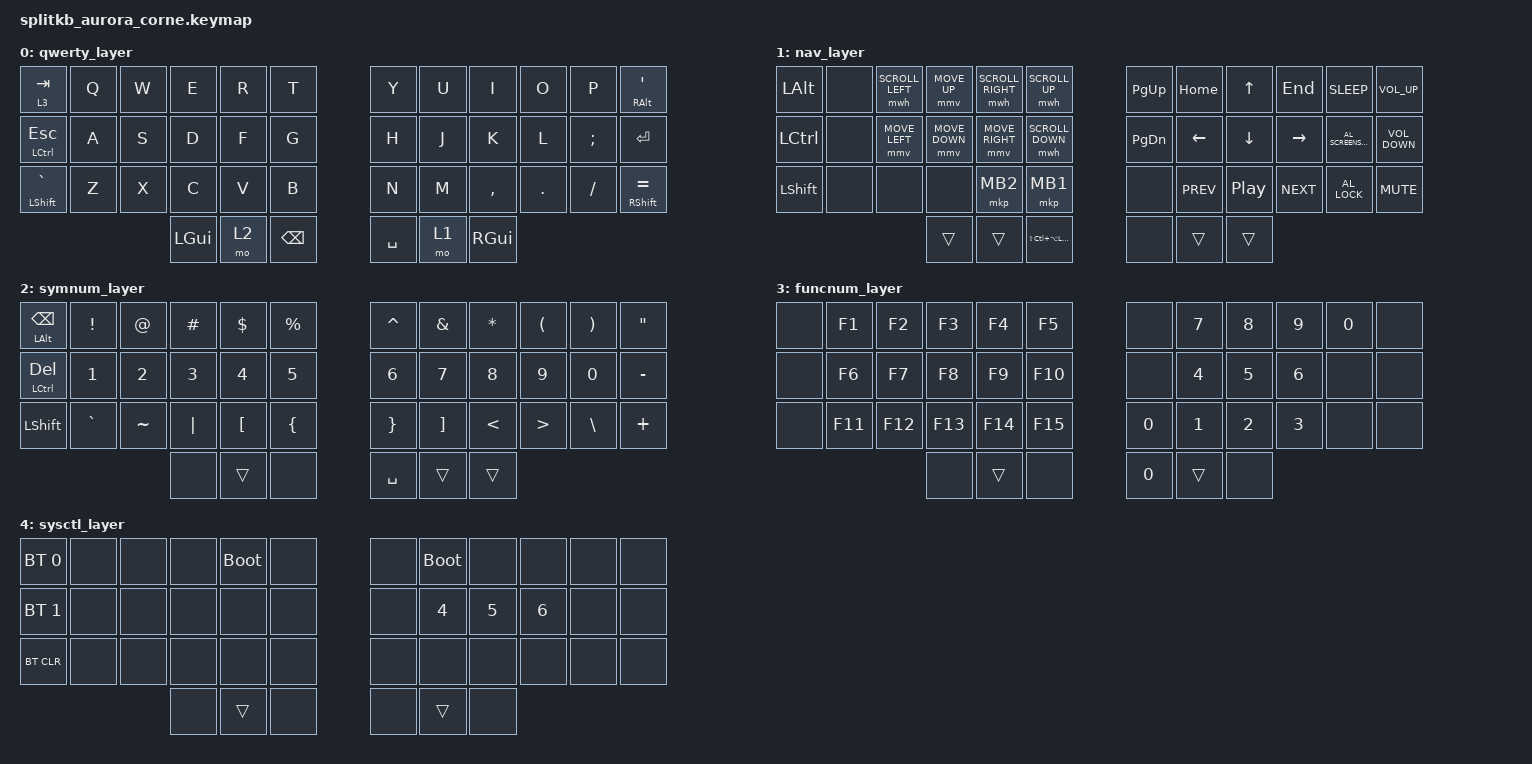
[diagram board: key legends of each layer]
#include <behaviors.dtsi>
#include "mouse.dtsi"
#include <dt-bindings/zmk/bt.h>
#include <dt-bindings/zmk/keys.h>

// layers

#define QWERTY 0
#define NAV 1
#define SYMNUM 2
#define FUNCNUM 3
#define SYSCTL  4

// keys

#define XXX &none
#define ___ &trans
#define HYPER LS(LC(LA(LGUI)))
#define LAG LA(LGUI)
#define LSG LS(LGUI)
#define LCG LC(LGUI)

/ {
    conditional_layers {
        compatible = "zmk,conditional-layers";

        tri_layer {
            if-layers = <1 2>;
            then-layer = <4>;
        };
    };

    keymap {
        compatible = "zmk,keymap";

        qwerty_layer {
            bindings = <
&lt 3 TAB         &kp Q  &kp W  &kp E     &kp R  &kp T       &kp Y      &kp U  &kp I      &kp O    &kp P     &mt RALT SINGLE_QUOTE
&mt LCTRL ESC     &kp A  &kp S  &kp D     &kp F  &kp G       &kp H      &kp J  &kp K      &kp L    &kp SEMI  &kp ENTER
&mt LSHIFT GRAVE  &kp Z  &kp X  &kp C     &kp V  &kp B       &kp N      &kp M  &kp COMMA  &kp DOT  &kp FSLH  &mt RSHIFT EQUAL
                                &kp LGUI  &mo 2  &kp BSPC    &kp SPACE  &mo 1  &kp RGUI
            >;
        };

        nav_layer {
            bindings = <
&kp LALT    &none  &mwh SCROLL_LEFT  &mmv MOVE_UP    &mwh SCROLL_RIGHT  &mwh SCROLL_UP      &kp PAGE_UP    &kp HOME    &kp UP            &kp END     &kp C_SLEEP           &kp C_VOLUME_UP
&kp LCTRL   &none  &mmv MOVE_LEFT    &mmv MOVE_DOWN  &mmv MOVE_RIGHT    &mwh SCROLL_DOWN    &kp PAGE_DOWN  &kp LEFT    &kp DOWN          &kp RIGHT   &kp C_AL_SCREENSAVER  &kp C_VOLUME_DOWN
&kp LSHIFT  &none  &none             &none           &mkp MB2           &mkp MB1            &none          &kp C_PREV  &kp C_PLAY_PAUSE  &kp C_NEXT  &kp C_AL_LOCK         &kp K_MUTE
                                     &trans          &trans             &kp HYPER           &none          &trans      &trans
            >;
        };

        symnum_layer {
            bindings = <
&mt LEFT_ALT BACKSPACE  &kp EXCL   &kp AT     &kp HASH  &kp DOLLAR        &kp PERCENT       &kp CARET        &kp AMPERSAND      &kp ASTERISK  &kp LEFT_PARENTHESIS  &kp RIGHT_PARENTHESIS  &kp DOUBLE_QUOTES
&mt LCTRL DELETE        &kp N1     &kp N2     &kp N3    &kp N4            &kp N5            &kp N6           &kp N7             &kp N8        &kp N9                &kp N0                 &kp MINUS
&kp LSHIFT              &kp GRAVE  &kp TILDE  &kp PIPE  &kp LEFT_BRACKET  &kp LEFT_BRACE    &kp RIGHT_BRACE  &kp RIGHT_BRACKET  &kp LT        &kp GT                &kp BACKSLASH          &kp PLUS
                                              &none     &trans            &none             &kp SPACE        &trans             &trans
            >;
        };

        funcnum_layer {
            bindings = <
&none  &kp F1   &kp F2   &kp F3   &kp F4   &kp F5     &none   &kp N7  &kp N8  &kp N9  &kp N0  &none
&none  &kp F6   &kp F7   &kp F8   &kp F9   &kp F10    &none   &kp N4  &kp N5  &kp N6  &none   &none
&none  &kp F11  &kp F12  &kp F13  &kp F14  &kp F15    &kp N0  &kp N1  &kp N2  &kp N3  &none   &none
                         &none    &trans   &none      &kp N0  &trans  &none
            >;
        };

        sysctl_layer {
            bindings = <
&bt BT_SEL 0  &none  &none  &none  &bootloader  &none    &none  &bootloader  &none   &none   &none  &none
&bt BT_SEL 1  &none  &none  &none  &none        &none    &none  &kp N4       &kp N5  &kp N6  &none  &none
&bt BT_CLR    &none  &none  &none  &none        &none    &none  &none        &none   &none   &none  &none
                            &none  &trans       &none    &none  &trans       &none
            >;
        };
    };
};
